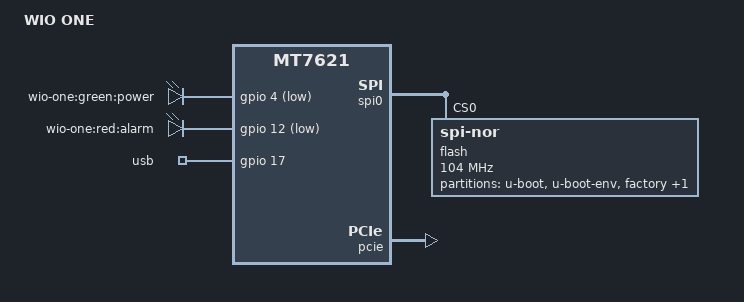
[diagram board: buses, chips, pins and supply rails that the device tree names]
/dts-v1/;

#include "mt7621.dtsi"

#include <dt-bindings/gpio/gpio.h>
#include <dt-bindings/input/input.h>

/ {
	compatible = "wio,wio-one", "mediatek,mt7621-soc";
	model = "WIO ONE";

	aliases {
		led-boot = &led_power;
		led-failsafe = &led_power;
		led-running = &led_power;
		led-upgrade = &led_power;
	};

	chosen {
		bootargs = "console=ttyS0,57600";
	};

	gpio-leds {
		compatible = "gpio-leds";

		led_power: power {
			label = "wio-one:green:power";
			gpios = <&gpio 4 GPIO_ACTIVE_LOW>;
		};

		alarm {
			label = "wio-one:red:alarm";
			gpios = <&gpio 12 GPIO_ACTIVE_LOW>;
		};
	};

	gpio_export {
		compatible = "gpio-export";
		#size-cells = <0>;

		usb_power {
			gpio-export,name = "usb";
			gpio-export,output = <1>;
			gpios = <&gpio 17 GPIO_ACTIVE_HIGH>;
		};
	};
};

&spi0 {
	status = "okay";

	flash@0 {
		compatible = "jedec,spi-nor";
		reg = <0>;
		spi-max-frequency = <104000000>;
		m25p,fast-read;
		m25p,chunked-io = <32>;

		partitions {
			compatible = "fixed-partitions";
			#address-cells = <1>;
			#size-cells = <1>;

			partition@0 {
				label = "u-boot";
				reg = <0x0 0x30000>;
				read-only;
			};

			partition@30000 {
				label = "u-boot-env";
				reg = <0x30000 0x10000>;
				read-only;
			};

			factory: partition@40000 {
				label = "factory";
				reg = <0x40000 0x10000>;
				read-only;
			};

			partition@50000 {
				label = "firmware";
				reg = <0x50000 0xfb0000>;
				compatible = "denx,uimage";
			};
		};
	};
};

&ethernet {
	mtd-mac-address = <&factory 4>;
	mtd-mac-address-increment = <(-2)>;
};

&switch0 {
	ports {
		port@0 {
			status = "okay";
			label = "lan1";
		};

		port@1 {
			status = "okay";
			label = "lan2";
		};

		port@2 {
			status = "okay";
			label = "lan3";
		};

		port@3 {
			status = "okay";
			label = "lan4";
		};

		port@4 {
			status = "okay";
			label = "wan";
		};
	};
};

&state_default {
	gpio {
		groups = "i2c", "uart2", "uart3", "rgmii2", "sdhci", "jtag";
		function = "gpio";
	};
};

&pcie {
	status = "okay";
};

&pcie0 {
	mt76@0,0 {
		reg = <0x0000 0 0 0 0>;
		mediatek,mtd-eeprom = <&factory 0x8000>;
		ieee80211-freq-limit = <5000000 6000000>;
		adant,sas-devid = <1>;
		adant,sas-gpio = <45 46 47 48>;
	};
};

&pcie1 {
	mt76@0,0 {
		reg = <0x0000 0 0 0 0>;
		mediatek,mtd-eeprom = <&factory 0x0000>;
		adant,sas-devid = <0>;
		adant,sas-gpio = <41 42 43 44>;
	};
};

&xhci {
	status = "disabled";
};
